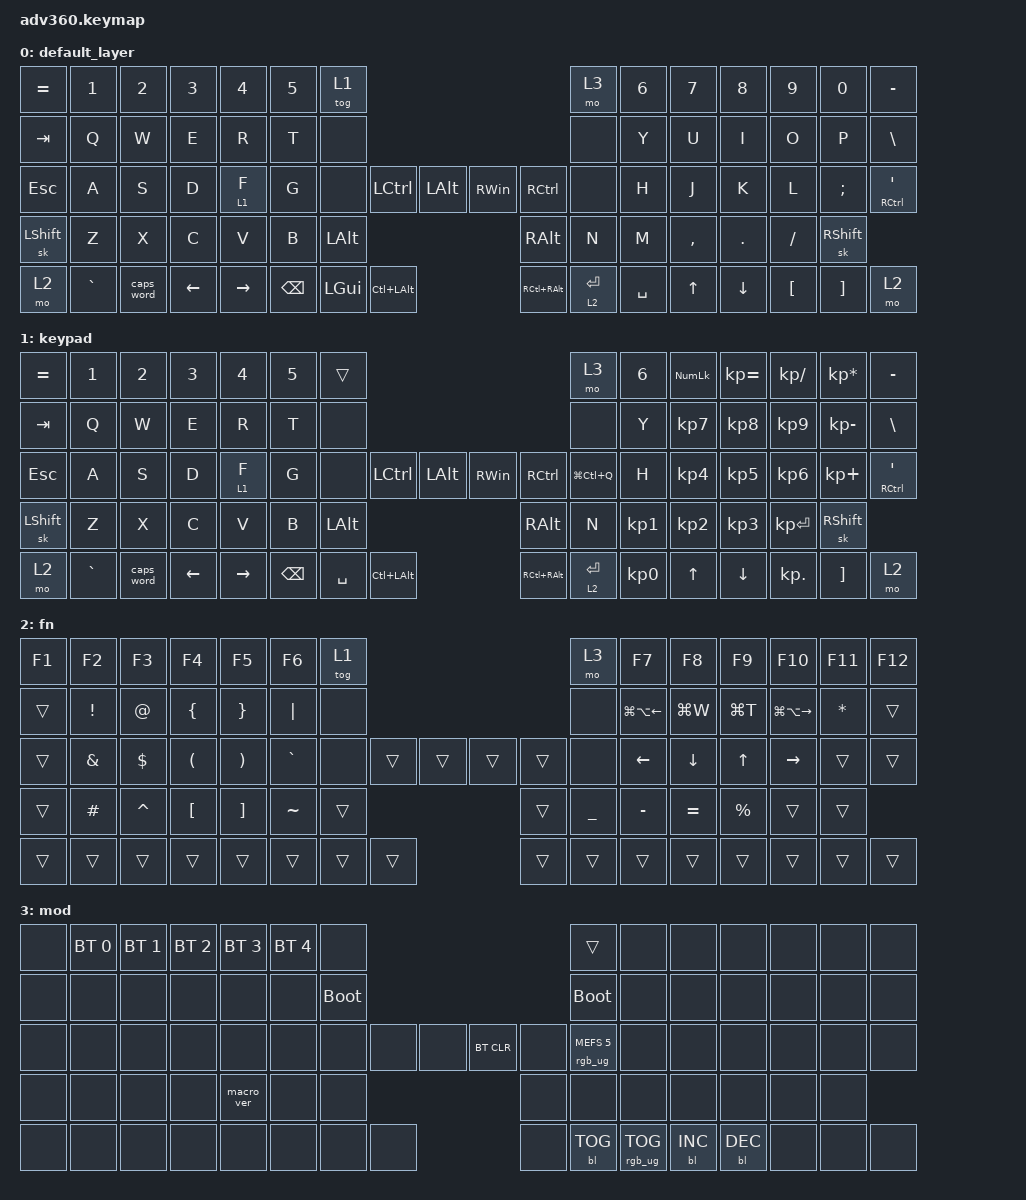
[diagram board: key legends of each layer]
#include <behaviors.dtsi>
#include <dt-bindings/zmk/keys.h>
#include <dt-bindings/zmk/bt.h>
#include <dt-bindings/zmk/rgb.h>
#include <dt-bindings/zmk/backlight.h>

#define HYP(key) LS(LC(LA(LG(key))))

#define HYPER_LEFT    LC(LALT)
#define SUPER_LEFT    LALT

#define HYPER_RIGHT   RC(RALT)
#define SUPER_RIGHT   RALT

#define MACLOCK  LG(LC(Q))

#define BROWSER_SEARCH LG(F)
#define BROWSER_NEWTAB LG(T)
#define BROWSER_CLOSETTAB LG(W)
#define BROWSER_NEXTTAB LG(LA(RIGHT))
#define BROWSER_PREVTAB LG(LA(LEFT))

&mt {
    tapping-term-ms = <210>;
    flavor = "tap-preferred";
};

&lt {
    flavor = "balanced";
    tapping-term-ms = <200>;
    quick-tap-ms = <200>;
};

&caps_word {
    continue-list = <UNDERSCORE MINUS>;
};

/ {
  behaviors {
    #include "macros.dtsi"
    #include "version.dtsi"
    #ifndef VERSION_MACRO
    macro_ver: macro_ver {
      compatible = "zmk,behavior-macro";
      label = "macro_version";
      #binding-cells = <0>;
      bindings = <&kp RET>;
    };
    #endif

    hm: homerow_mods {
        compatible = "zmk,behavior-hold-tap";
        label = "HOMEROW_MODS";
        #binding-cells = <2>;
        tapping-term-ms = <200>;
        quick_tap_ms = <175>;
        flavor = "tap-preferred";
        bindings = <&kp>, <&kp>;
    };
  };

  combos {
    compatible = "zmk,combos";

    combo_lctrl {
      timeout-ms = <35>;
      key-positions = <32 31>;
      bindings = <&kp LCTRL>;
    };

    combo_lalt {
      timeout-ms = <35>;
      key-positions = <32 30>;
      bindings = <&kp LALT>;
    };

    combo_rctrl {
      timeout-ms = <35>;
      key-positions = <41 42>;
      bindings = <&kp RCTRL>;
    };

    combo_ralt {
      timeout-ms = <36>;
      key-positions = <41 43>;
      bindings = <&kp RALT>;
    };

  };

    keymap {
        compatible = "zmk,keymap";


        default_layer {
            bindings = <
        &kp EQUAL &kp N1    &kp N2     &kp N3   &kp N4     &kp N5 &tog 1                                                                         &mo 3 &kp N6 &kp N7    &kp N8    &kp N9   &kp N0   &kp MINUS
        &kp TAB   &kp Q     &kp W      &kp E    &kp R      &kp T  &none                                                                          &none &kp Y  &kp U     &kp I     &kp O    &kp P     &kp BSLH
        &kp ESC   &kp A     &kp S      &kp D    &lt 1 F    &kp G  &none           &kp LCTRL  &kp LALT       &kp RWIN        &kp RCTRL            &none &kp H  &kp J     &kp K     &kp L    &kp SEMI  &mt RCTRL SQT
        &sk LSHFT &kp Z     &kp X      &kp C    &kp V      &kp B                            &kp SUPER_LEFT  &kp SUPER_RIGHT                      &kp N &kp M  &kp COMMA &kp DOT   &kp FSLH &sk RSHFT
        &mo 2     &kp GRAVE &caps_word &kp LEFT &kp RIGHT                &kp BSPC &kp LGUI  &kp HYPER_LEFT  &kp HYPER_RIGHT &lt 2 ENTER &kp SPACE             &kp UP    &kp DOWN  &kp LBKT &kp RBKT  &mo 2
            >;
        };

        keypad {
            bindings = <

        &kp EQUAL &kp N1    &kp N2     &kp N3   &kp N4     &kp N5 &trans                                                                      &mo 3       &kp N6 &kp KP_NUM &kp KP_EQUAL &kp KP_DIVIDE &kp KP_MULTIPLY &kp MINUS
        &kp TAB   &kp Q     &kp W      &kp E    &kp R      &kp T  &none                                                                       &none       &kp Y  &kp KP_N7  &kp KP_N8    &kp KP_N9     &kp KP_MINUS    &kp BSLH
        &kp ESC   &kp A     &kp S      &kp D    &lt 1 F    &kp G  &none           &kp LCTRL  &kp LALT      &kp RWIN        &kp RCTRL          &kp MACLOCK &kp H  &kp KP_N4  &kp KP_N5    &kp KP_N6     &kp KP_PLUS     &mt RCTRL SQT
        &sk LSHFT &kp Z     &kp X      &kp C    &kp V      &kp B                            &kp SUPER_LEFT &kp SUPER_RIGHT                                &kp N  &kp KP_N1  &kp KP_N2    &kp KP_N3     &kp KP_ENTER    &sk RSHFT
        &mo 2     &kp GRAVE &caps_word &kp LEFT &kp RIGHT                &kp BSPC &kp SPACE &kp HYPER_LEFT &kp HYPER_RIGHT &lt 2 ENTER &kp KP_N0                 &kp UP     &kp DOWN     &kp KP_DOT    &kp RBKT        &mo 2
            >;
        };

        fn {
            bindings = <
        &kp F1 &kp F2   &kp F3     &kp F4   &kp F5   &kp F6    &tog 1                                          &mo 3 &kp F7                  &kp F8                   &kp F9                &kp F10                   &kp F11       &kp F12
        &trans &kp EXCL &kp AT     &kp LBRC &kp RBRC &kp PIPE  &none                                           &none &kp BROWSER_PREVTAB     &kp BROWSER_CLOSETTAB    &kp BROWSER_NEWTAB    &kp BROWSER_NEXTTAB       &kp ASTERISK  &trans
        &trans &kp AMPS &kp DOLLAR &kp LPAR &kp RPAR &kp GRAVE &none        &trans &trans &trans &trans        &none &kp LEFT                &kp DOWN                 &kp UP                &kp RIGHT                 &trans        &trans
        &trans &kp HASH &kp CARET  &kp LBKT &kp RBKT &kp TILDE                     &trans &trans                     &kp UNDER               &kp MINUS                &kp EQUAL             &kp PERCENT               &trans        &trans
        &trans &trans   &trans     &trans   &trans                   &trans &trans &trans &trans &trans &trans                               &trans                   &trans                &trans                    &trans        &trans
            >;
        };

        mod {
            bindings = <
        &none &bt BT_SEL 0 &bt BT_SEL 1 &bt BT_SEL 2 &bt BT_SEL 3 &bt BT_SEL 4 &none                                                                     &trans                 &none        &none        &none        &none &none &none
        &none &none        &none        &none        &none        &none        &bootloader                                                               &bootloader            &none        &none        &none        &none &none &none
        &none &none        &none        &none        &none        &none        &none                   &none &none &bt BT_CLR &none                      &rgb_ug RGB_MEFS_CMD 5 &none        &none        &none        &none &none &none
        &none &none        &none        &none        &macro_ver   &none                                      &none &none                                                        &none        &none        &none        &none &none &none
        &none &none        &none        &none        &none                                       &none &none &none &none      &bl BL_TOG &rgb_ug RGB_TOG                                     &bl BL_INC   &bl BL_DEC   &none &none &none
            >;
        };

    };
};
